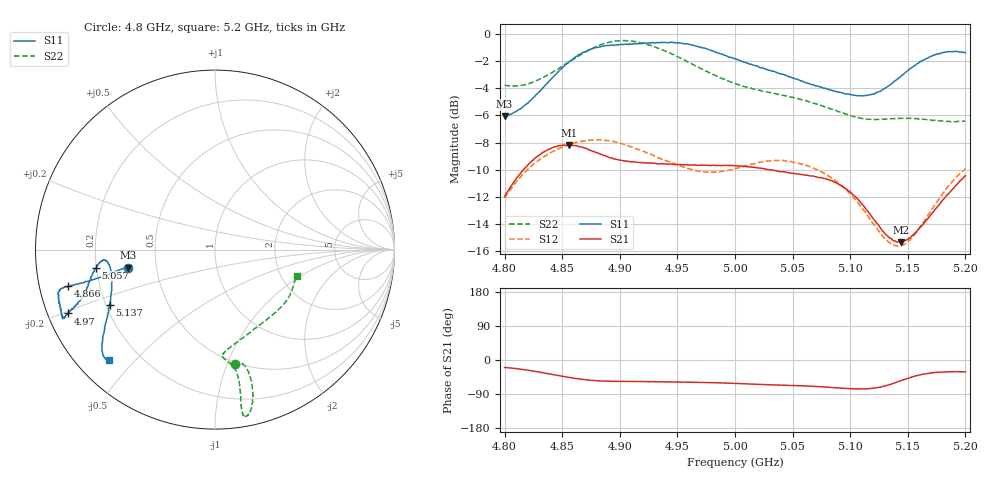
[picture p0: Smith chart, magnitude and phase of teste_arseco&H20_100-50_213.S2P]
! Network Analyzer HP8722D
! Hewlett-Packard
! Data name: Linha & Wilkinson
! Saver's name: Rodrigo Anjos
! Comments: Teste da utilização de aquisição
! continua pelo VNA HP8722D
! Time and date: 6/5/2025 14:20
!  Frequency  S11  S21  S12  S22
# HZ  S  MA R 50
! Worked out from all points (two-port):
!   401 points, 4.8 GHz to 5.2 GHz, reference 50 ohm
!   highest |S21| = -8.16 dB at 4.856 GHz (marker M1); lowest = -15.3 dB at 5.144 GHz (marker M2)
!   |S21| within 3 dB of the highest: 4.806 GHz to 5.092 GHz (286.3 MHz wide, 5.79 % of centre); 5.19162 GHz to end of sweep
!   lowest |S11| = -6.1 dB at 4.8 GHz (marker M3), VSWR 2.98, Z = 17 - j4.56 ohm
!   |S11| at or under -10 dB: nowhere
!   |S22| runs from -6.5 to -0.5 dB; largest |S21 - S12| = 0.62
!   S11 on the Smith chart (normalised r, x): 4.8 GHz: 0.34, -0.09; 4.866 GHz: 0.09, -0.12; 4.97 GHz: 0.06, -0.21; 5.057 GHz: 0.20, -0.07; 5.137 GHz: 0.21, -0.23; 5.2 GHz: 0.09, -0.42
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4.8e9  0.4971 -168.2  0.2525 -19.9  0.2494 -140.9  0.6484 -80.3
4.828e9  0.6011 -167.1  0.3537 -30.7  0.3385 -145.0  0.6747 -75.4
4.856e9  0.7897 -165.9  0.3908 -45.9  0.3915 -150.2  0.7893 -74.8
4.866e9  0.8431 -165.9  0.3836 -50.4  0.402 -152.0  0.8376 -75.4
4.867e9  0.8496 -165.8  0.3837 -50.9  0.4029 -152.1  0.8437 -75.5
4.885e9  0.9023 -165.1  0.3588 -55.4  0.4068 -155.1  0.9168 -77.5
4.902e9  0.9121 -162.3  0.3422 -56.5  0.3946 -157.0  0.9445 -79.4
4.934e9  0.9289 -156.5  0.3326 -57.5  0.3501 -155.8  0.8832 -80.5
4.949e9  0.9269 -155.6  0.3311 -57.9  0.3306 -153.0  0.83 -80.1
4.97e9  0.8913 -156.5  0.3293 -59.2  0.3122 -147.0  0.7464 -79.6
5e9  0.8102 -159.1  0.3276 -61.9  0.3197 -137.3  0.6563 -81.3
5.032e9  0.7294 -164.7  0.3159 -65.6  0.3416 -134.2  0.6063 -85.4
5.057e9  0.6719 -171.3  0.3041 -68.0  0.3327 -135.9  0.5741 -84.8
5.067e9  0.6501 -173.1  0.3002 -69.2  0.3231 -136.9  0.5572 -82.7
5.084e9  0.6206 -174.6  0.2892 -72.4  0.2948 -138.4  0.5279 -76.2
5.103e9  0.5951 -171.4  0.2548 -76.1  0.2497 -138.7  0.4965 -65.1
5.116e9  0.5963 -165.4  0.2203 -75.9  0.2121 -135.6  0.4849 -55.7
5.134e9  0.6457 -154.3  0.178 -65.3  0.1708 -120.6  0.4867 -43.2
5.137e9  0.6622 -152.5  0.1744 -62.2  0.1675 -116.8  0.4874 -41.5
5.144e9  0.699 -148.9  0.1712 -54.4  0.1658 -107.4  0.4888 -37.5
5.173e9  0.8361 -138.9  0.2239 -33.3  0.2334 -80.9  0.4816 -24.3
5.2e9  0.8534 -133.8  0.3008 -31.4  0.3196 -77.0  0.478 -17.6
